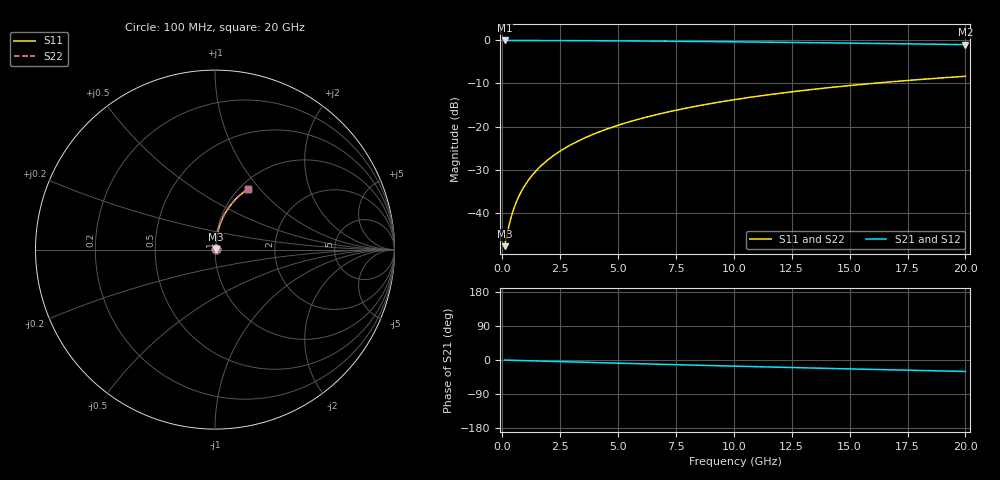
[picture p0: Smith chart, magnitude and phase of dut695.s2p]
! Touchstone file exported from HFSS 2024.1.0
!  File:  C:/UserFiles/LocalFiles/RDL_TSV_Batchsim/temp_RDL_bottom_695_1779787163.aedt
!  Generated:  05:22:03 PM May 26, 2026
!  Design:  RDL_bottom
!  Project:  temp_RDL_bottom_695_1779787163
!  Setup:  Setup1
!  Solution:  Sweep
! Variables:
!  dtsv = 10.80580581um
!  hbump = 3um
!  htsv = 94.2um
!  ldown = 333.47um
!  lrdl = 100um
!  p = 40
!  p1 = 52.47um
!  rhole = 1um
!  t = 450um
!  tdown = 3.07um
!  trdl = 3.915915916um
!  wdown = 11.32um
!  wrdl = 20um
# GHz S MA R 50.000000
! Terminal data exported
! Port[1] = RDL1_T1
! Port[2] = RDL1_T2
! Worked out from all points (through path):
!   200 points, 100 MHz to 20 GHz, reference 50 ohm
!   highest |S21| = -0.03 dB at 100 MHz (marker M1); lowest = -1.0 dB at 20 GHz (marker M2)
!   group delay of S21, straight-line fit = 4.2 ps
!   lowest |S11| = -47.7 dB at 100 MHz (marker M3), VSWR 1.01, Z = 50.4 + j0.215 ohm
!   |S11| at or under -10 dB: start of sweep to 15.96 GHz
!   |S22| runs from -47.7 to -8.3 dB; largest |S21 - S12| = 3.5e-15
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0.1  0.004122 31.2  0.9965 -0.2  0.9965 -0.2  0.004122 31.2
! Gamma 0 0 0 0
! Port Impedance 50 0 50 0
0.3  0.007348 60.4  0.9964 -0.5  0.9964 -0.5  0.007348 60.4
0.4  0.00927 66.4  0.9963 -0.7  0.9963 -0.7  0.00927 66.4
0.5  0.01125 70.2  0.9962 -0.9  0.9962 -0.9  0.01125 70.2
0.6  0.01326 72.9  0.9961 -1.0  0.9961 -1.0  0.01326 72.9
0.8  0.0173 76.2  0.9959 -1.4  0.9959 -1.4  0.0173 76.2
1.1  0.02341 78.9  0.9956 -1.9  0.9956 -1.9  0.02341 78.9
1.3  0.02749 80.0  0.9953 -2.2  0.9953 -2.2  0.02749 80.0
1.5  0.03159 80.8  0.9951 -2.6  0.9951 -2.6  0.03159 80.8
1.8  0.03775 81.5  0.9946 -3.1  0.9946 -3.1  0.03775 81.5
2.1  0.04391 81.9  0.9941 -3.6  0.9941 -3.6  0.04391 81.9
2.7  0.05628 82.2  0.9929 -4.6  0.9929 -4.6  0.05628 82.2
3.5  0.07279 82.0  0.9909 -5.9  0.9909 -5.9  0.07279 82.0
4.2  0.08724 81.6  0.9888 -7.1  0.9888 -7.1  0.08724 81.6
5  0.1037 80.9  0.986 -8.4  0.986 -8.4  0.1037 80.9
5.9  0.1222 80.0  0.9824 -9.8  0.9824 -9.8  0.1222 80.0
6.8  0.1407 78.9  0.9784 -11.3  0.9784 -11.3  0.1407 78.9
8.3  0.1711 77.0  0.9708 -13.6  0.9708 -13.6  0.1711 77.0
10.1  0.2069 74.7  0.9606 -16.4  0.9606 -16.4  0.2069 74.7
13.4  0.2701 70.2  0.9395 -21.2  0.9395 -21.2  0.2701 70.2
16.7  0.3291 65.7  0.9162 -25.8  0.9162 -25.8  0.3291 65.7
20  0.3833 61.4  0.8914 -30.2  0.8914 -30.2  0.3833 61.4
